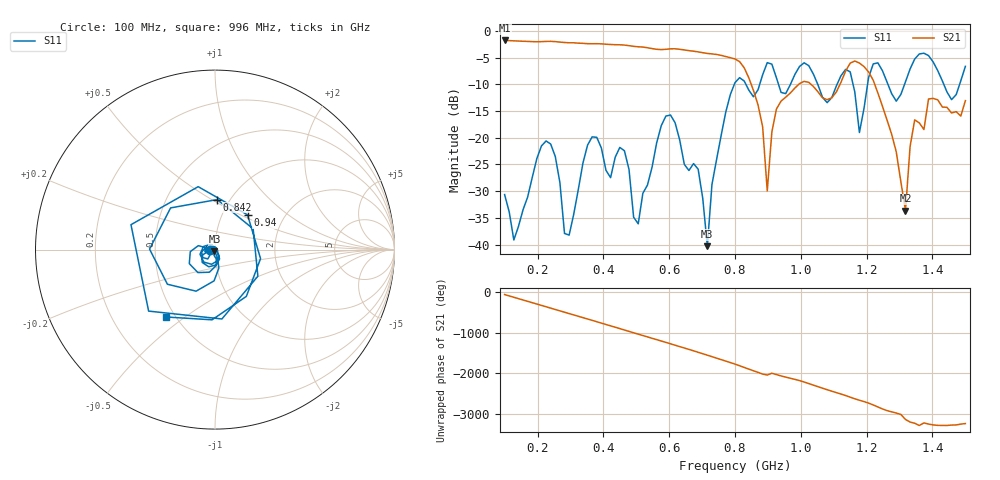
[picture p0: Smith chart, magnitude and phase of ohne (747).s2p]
! NanoVNA-App
! Date: 2025-09-25 14:26:37
! Start: 100MHz Stop: 1,5GHz Points: 101
! S-Parameter data: F S11 S21 S12 S22
# Hz S RI R 50
!  Frequency  S11_Real  S11_Imag  S21_Real  S21_Imag  S12_Real  S12_Imag  S22_Real  S22_Imag
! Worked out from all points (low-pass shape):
!   101 points, 100 MHz to 1.5 GHz, reference 50 ohm
!   highest |S21| = -1.79 dB at 100 MHz (marker M1); lowest = -33.6 dB at 1.318 GHz (marker M2)
!   |S21| within 3 dB of the highest: start of sweep to 771.2 MHz
!   lowest |S11| = -40.3 dB at 716 MHz (marker M3), VSWR 1.02, Z = 49.7 - j0.919 ohm
!   |S11| at or under -10 dB: start of sweep to 798 MHz; 833.1 MHz to 875.1 MHz (42.03 MHz wide, 4.92 % of centre); 1.051 GHz to 1.11 GHz (58.81 MHz wide, 5.44 % of centre) (the widest 3 of 7)
!   S12 and S22 are empty: the file has one direction only
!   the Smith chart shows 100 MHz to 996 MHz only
!   S11 on the Smith chart (normalised r, x): 100 MHz: 0.94, -0.01; 842 MHz: 0.88, +0.53; 940 MHz: 1.31, +0.55; 996 MHz: 0.45, -0.43
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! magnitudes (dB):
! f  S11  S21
! 100 MHz  -30.6  -1.8
! 128 MHz  -39.1  -1.9
! 226 MHz  -20.6  -2.0
! 296 MHz  -38.2  -2.2
! 338 MHz  -24.7  -2.3
! 464 MHz  -22.4  -2.7
! 506 MHz  -36.1  -3.0
! 576 MHz  -17.7  -3.5
! 688 MHz  -25.9  -3.9
! 716 MHz  -40.3  -4.2
! 800 MHz  -9.7  -5.3
! 842 MHz  -11.1  -8.8
! 898 MHz  -5.9  -29.9
! 940 MHz  -11.5  -13.1
! 996 MHz  -6.7  -9.9
! 1.038 GHz  -8.1  -10.4
! 1.178 GHz  -19.0  -6.0
! 1.22 GHz  -6.2  -9.2
! 1.276 GHz  -11.8  -19.4
! 1.318 GHz  -9.5  -33.6
! 1.346 GHz  -5.3  -16.6
! 1.5 GHz  -6.6  -13.1
